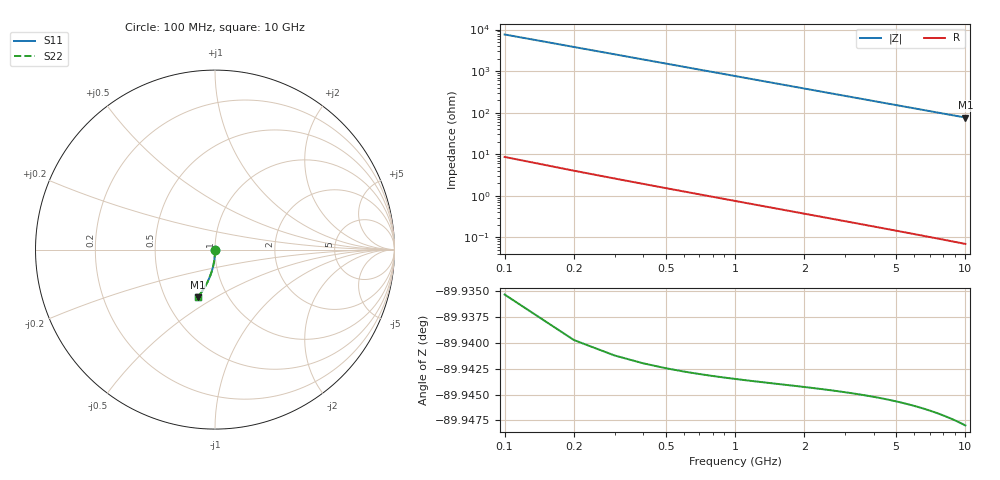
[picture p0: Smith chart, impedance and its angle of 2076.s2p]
# Hz S RI R 50.00
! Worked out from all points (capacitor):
!   100 points, 100 MHz to 10 GHz, reference 50 ohm
!   read as one part in shunt: C = 209 fF near 100 MHz
!   lowest |Z| = 76.5 ohm at 10 GHz (marker M1)
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1e8  0.000234 -0.00295  0.9997 -0.0036  0.9997 -0.0036  0.000234 -0.00295
2e8  0.000201 -0.00591  0.9997 -0.0072  0.9997 -0.0072  0.000201 -0.00591
3e8  0.000146 -0.00886  0.9996 -0.0108  0.9996 -0.0108  0.000146 -0.00886
4e8  6.9e-05 -0.0118  0.9996 -0.0144  0.9996 -0.0144  6.9e-05 -0.0118
5e8  -2.89e-05 -0.0148  0.9995 -0.018  0.9995 -0.018  -2.89e-05 -0.0148
6e8  -0.000148 -0.0177  0.9993 -0.0216  0.9993 -0.0216  -0.000148 -0.0177
7e8  -0.000289 -0.0207  0.9992 -0.0252  0.9992 -0.0252  -0.000289 -0.0207
8e8  -0.000451 -0.0236  0.999 -0.0288  0.999 -0.0288  -0.000451 -0.0236
9e8  -0.000634 -0.0266  0.9988 -0.0324  0.9988 -0.0324  -0.000634 -0.0266
1.1e9  -0.00106 -0.0325  0.9984 -0.0395  0.9984 -0.0395  -0.00106 -0.0325
1.4e9  -0.00187 -0.0413  0.9976 -0.0503  0.9976 -0.0503  -0.00187 -0.0413
1.8e9  -0.00323 -0.053  0.9962 -0.0646  0.9962 -0.0646  -0.00323 -0.053
2.1e9  -0.00448 -0.0618  0.9949 -0.0753  0.9949 -0.0753  -0.00448 -0.0618
2.5e9  -0.00643 -0.0734  0.9929 -0.0895  0.9929 -0.0895  -0.00643 -0.0734
2.9e9  -0.00871 -0.0849  0.9906 -0.1036  0.9906 -0.1036  -0.00871 -0.0849
3.4e9  -0.012 -0.0992  0.9872 -0.1211  0.9872 -0.1211  -0.012 -0.0992
4.2e9  -0.0183 -0.1218  0.9808 -0.1488  0.9808 -0.1488  -0.0183 -0.1218
5.1e9  -0.0269 -0.1465  0.972 -0.1794  0.972 -0.1794  -0.0269 -0.1465
5.9e9  -0.0358 -0.1679  0.9629 -0.2059  0.9629 -0.2059  -0.0358 -0.1679
6.7e9  -0.0458 -0.1886  0.9527 -0.2318  0.9527 -0.2318  -0.0458 -0.1886
8.4e9  -0.0704 -0.23  0.9275 -0.2842  0.9275 -0.2842  -0.0704 -0.23
1e10  -0.0973 -0.2653  0.9 -0.33  0.9 -0.33  -0.0973 -0.2653
